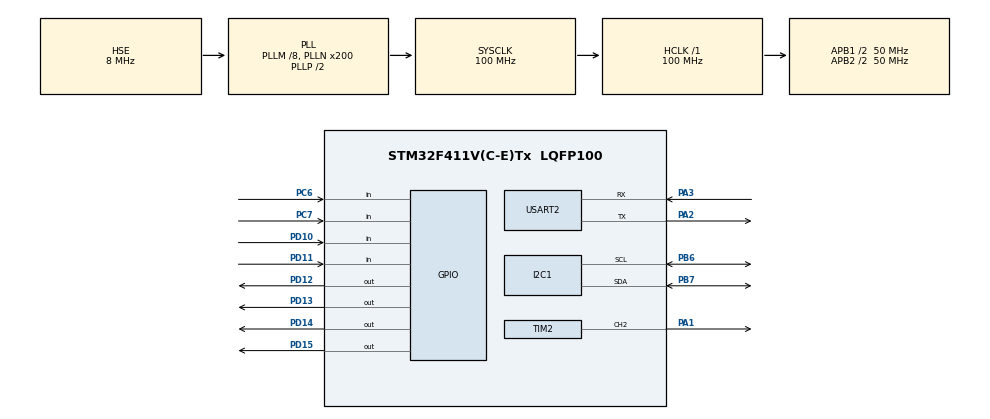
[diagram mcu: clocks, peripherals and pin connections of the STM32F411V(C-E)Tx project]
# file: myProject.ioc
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Dma.I2C1_RX.0.Direction=DMA_PERIPH_TO_MEMORY
Dma.I2C1_RX.0.FIFOMode=DMA_FIFOMODE_DISABLE
Dma.I2C1_RX.0.Instance=DMA1_Stream0
Dma.I2C1_RX.0.MemDataAlignment=DMA_MDATAALIGN_BYTE
Dma.I2C1_RX.0.MemInc=DMA_MINC_ENABLE
Dma.I2C1_RX.0.Mode=DMA_NORMAL
Dma.I2C1_RX.0.PeriphDataAlignment=DMA_PDATAALIGN_BYTE
Dma.I2C1_RX.0.PeriphInc=DMA_PINC_DISABLE
Dma.I2C1_RX.0.Priority=DMA_PRIORITY_LOW
Dma.Request0=I2C1_RX
Dma.Request1=USART2_RX
Dma.USART2_RX.1.Direction=DMA_PERIPH_TO_MEMORY
Dma.USART2_RX.1.FIFOMode=DMA_FIFOMODE_DISABLE
Dma.USART2_RX.1.Instance=DMA1_Stream5
Dma.USART2_RX.1.MemDataAlignment=DMA_MDATAALIGN_BYTE
Dma.USART2_RX.1.MemInc=DMA_MINC_ENABLE
Dma.USART2_RX.1.Mode=DMA_CIRCULAR
Dma.USART2_RX.1.PeriphDataAlignment=DMA_PDATAALIGN_BYTE
Dma.USART2_RX.1.PeriphInc=DMA_PINC_DISABLE
Dma.USART2_RX.1.Priority=DMA_PRIORITY_LOW
Mcu.Family=STM32F4
Mcu.Name=STM32F411V(C-E)Tx
Mcu.Package=LQFP100
NVIC.DMA1_Stream0_IRQn=true\:0\:0\:false\:false\:true\:false\:true
NVIC.DMA1_Stream5_IRQn=true\:0\:0\:false\:false\:true\:false\:true
NVIC.I2C1_EV_IRQn=true\:0\:0\:false\:false\:true\:true\:true
NVIC.PriorityGroup=NVIC_PRIORITYGROUP_4
NVIC.USART2_IRQn=true\:0\:0\:false\:false\:true\:true\:true
PA1.Signal=S_TIM2_CH2
PA13.Mode=Serial_Wire
PA13.Signal=SYS_JTMS-SWDIO
PA14.Mode=Serial_Wire
PA14.Signal=SYS_JTCK-SWCLK
PA2.Mode=Asynchronous
PA2.Signal=USART2_TX
PA3.Mode=Asynchronous
PA3.Signal=USART2_RX
PB6.Mode=I2C
PB6.Signal=I2C1_SCL
PB7.Mode=I2C
PB7.Signal=I2C1_SDA
PC6.Signal=GPIO_Input
PC7.Signal=GPIO_Input
PD10.Signal=GPIO_Input
PD11.Signal=GPIO_Input
PD12.Signal=GPIO_Output
PD13.Signal=GPIO_Output
PD14.Signal=GPIO_Output
PD15.Signal=GPIO_Output
PH0\ -\ OSC_IN.Mode=HSE-External-Oscillator
PH0\ -\ OSC_IN.Signal=RCC_OSC_IN
PH1\ -\ OSC_OUT.Mode=HSE-External-Oscillator
PH1\ -\ OSC_OUT.Signal=RCC_OSC_OUT
ProjectManager.HeapSize=0x200
ProjectManager.StackSize=0x400
ProjectManager.TargetToolchain=MDK-ARM V5.27
RCC.48MHZClocksFreq_Value=50000000
RCC.AHBFreq_Value=100000000
RCC.APB1CLKDivider=RCC_HCLK_DIV2
RCC.APB1Freq_Value=50000000
RCC.APB1TimFreq_Value=100000000
RCC.APB2CLKDivider=RCC_HCLK_DIV2
RCC.APB2Freq_Value=50000000
RCC.APB2TimFreq_Value=100000000
RCC.CortexFreq_Value=100000000
RCC.HCLKFreq_Value=100000000
RCC.HSE_VALUE=8000000
RCC.HSI_VALUE=16000000
RCC.LSE_VALUE=32768
RCC.PLLM=8
RCC.PLLN=200
RCC.PLLSourceVirtual=RCC_PLLSOURCE_HSE
RCC.SYSCLKFreq_VALUE=100000000
RCC.SYSCLKSource=RCC_SYSCLKSOURCE_PLLCLK
RCC.VCOOutputFreq_Value=200000000
SH.S_TIM2_CH2.0=TIM2_CH2,PWM Generation2 CH2
TIM2.Channel-PWM\ Generation2\ CH2=TIM_CHANNEL_2
TIM2.Period=100
TIM2.Prescaler=100
USART2.VirtualMode=VM_ASYNC
VP_TIM2_VS_ClockSourceINT.Mode=Internal
board=custom

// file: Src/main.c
/* USER CODE BEGIN Header */
/**
  ******************************************************************************
  * @file           : main.c
  * @brief          : Main program body
  ******************************************************************************
  * @attention
  *
  * <h2><center>&copy; Copyright (c) 2020 STMicroelectronics.
  * All rights reserved.</center></h2>
  *
  * This software component is licensed by ST under BSD 3-Clause license,
  * the "License"; You may not use this file except in compliance with the
  * License. You may obtain a copy of the License at:
  *                        opensource.org/licenses/BSD-3-Clause
  *
  ******************************************************************************
  */
/* USER CODE END Header */
#include "main.h"

I2C_HandleTypeDef hi2c1;
DMA_HandleTypeDef hdma_i2c1_rx;

TIM_HandleTypeDef htim2;

UART_HandleTypeDef huart2;
DMA_HandleTypeDef hdma_usart2_rx;

void SystemClock_Config(void);
static void MX_GPIO_Init(void);
static void MX_DMA_Init(void);
static void MX_USART2_UART_Init(void);
static void MX_I2C1_Init(void);
static void MX_TIM2_Init(void);

/* USER CODE BEGIN 0 */
#define address 0xB8
//#define EVENT 1;

uint8_t dhtData[4];
uint8_t receive_data[4];
uint8_t send_data[30];
GPIO_PinState D1, D2, D3= GPIO_PIN_RESET;
uint8_t Fan = 0, Ready= 1;
uint32_t cntTO = 0, M = 0;
uint8_t mod = 1, intFlag = 0;
GPIO_PinState Motion, Gas;
/* USER CODE END 0 */

int main(void)
{

  /* MCU Configuration--------------------------------------------------------*/

  /* Reset of all peripherals, Initializes the Flash interface and the Systick. */
  HAL_Init();

  /* Configure the system clock */
  SystemClock_Config();

  /* Initialize all configured peripherals */
  MX_GPIO_Init();
  MX_DMA_Init();
  MX_USART2_UART_Init();
  MX_I2C1_Init();
  MX_TIM2_Init();
  /* USER CODE BEGIN 2 */
	HAL_UART_Receive_DMA(&huart2, &receive_data[0], 4);
  /* USER CODE END 2 */

  /* Infinite loop */
  /* USER CODE BEGIN WHILE */
  HAL_TIM_PWM_Start(&htim2, TIM_CHANNEL_2);
  __HAL_TIM_SET_COMPARE(&htim2, TIM_CHANNEL_2, Fan);
  while (1)
  {
    /* USER CODE END WHILE */

    /* USER CODE BEGIN 3 */
	  __HAL_TIM_SET_COMPARE(&htim2, TIM_CHANNEL_2, Fan);

		//if(huart2.hdmarx->Instance->NDTR != 0x00000003){
		if	(receive_data[0] != 'C' && receive_data[3] != 'E')
		{
			__HAL_DMA_DISABLE(huart2.hdmarx);
			while((huart2.hdmarx->Instance->CR & 0x00000001) != 0);
			huart2.hdmarx->Instance->NDTR = 0x00000004;
			__HAL_DMA_ENABLE(huart2.hdmarx);
		}
		Gas = HAL_GPIO_ReadPin(GPIOC, GPIO_PIN_7);
		Motion = HAL_GPIO_ReadPin(GPIOC, GPIO_PIN_6);
		if(mod == 1) HAL_GPIO_WritePin(GPIOD, GPIO_PIN_14, D3);
		else HAL_GPIO_WritePin(GPIOD, GPIO_PIN_14, Motion);
		HAL_GPIO_WritePin(GPIOD, GPIO_PIN_12, D1);
		HAL_GPIO_WritePin(GPIOD, GPIO_PIN_13, D2);

		if (1)
		{
			dhtData[0] = 0x00;
			HAL_I2C_Master_Transmit(&hi2c1, address, dhtData,1,10);
			dhtData[0] = 0x00;
			HAL_I2C_Master_Receive( &hi2c1,address,&dhtData[0], 4, 10);

			send_data[0] = 's';
			send_data[1] = dhtData[0];
			send_data[2] = ',';
			send_data[3] = dhtData[1];
			send_data[4] = ',';
			send_data[5] = dhtData[2];
			send_data[6] = ',';
			send_data[7] = dhtData[3];
			send_data[8] = 0;
			if(HAL_GPIO_ReadPin(GPIOC, GPIO_PIN_7)) send_data[8] = send_data[8] | 0x01;
			if(HAL_GPIO_ReadPin(GPIOC, GPIO_PIN_6)) send_data[8] = send_data[8] | 0x02;
			if(HAL_GPIO_ReadPin(GPIOD, GPIO_PIN_12)) send_data[8] = send_data[8] | 0x04;
			if(HAL_GPIO_ReadPin(GPIOD, GPIO_PIN_13)) send_data[8] = send_data[8] | 0x08;
			if(HAL_GPIO_ReadPin(GPIOD, GPIO_PIN_14)) send_data[8] = send_data[8] | 0x10;
			send_data[9] = Fan;
			send_data[10] = (uint8_t)(dhtData[0]) + (uint8_t)(dhtData[2]);
			HAL_UART_Transmit(&huart2,send_data,11,10);
			intFlag = 0;
			HAL_Delay(100);
		}
  }
  /* USER CODE END 3 */
}

void SystemClock_Config(void)
{
  RCC_OscInitTypeDef RCC_OscInitStruct = {0};
  RCC_ClkInitTypeDef RCC_ClkInitStruct = {0};

  /** Configure the main internal regulator output voltage
  */
  __HAL_RCC_PWR_CLK_ENABLE();
  __HAL_PWR_VOLTAGESCALING_CONFIG(PWR_REGULATOR_VOLTAGE_SCALE1);
  /** Initializes the RCC Oscillators according to the specified parameters
  * in the RCC_OscInitTypeDef structure.
  */
  RCC_OscInitStruct.OscillatorType = RCC_OSCILLATORTYPE_HSE;
  RCC_OscInitStruct.HSEState = RCC_HSE_ON;
  RCC_OscInitStruct.PLL.PLLState = RCC_PLL_ON;
  RCC_OscInitStruct.PLL.PLLSource = RCC_PLLSOURCE_HSE;
  RCC_OscInitStruct.PLL.PLLM = 8;
  RCC_OscInitStruct.PLL.PLLN = 200;
  RCC_OscInitStruct.PLL.PLLP = RCC_PLLP_DIV2;
  RCC_OscInitStruct.PLL.PLLQ = 4;
  if (HAL_RCC_OscConfig(&RCC_OscInitStruct) != HAL_OK)
  {
    Error_Handler();
  }
  /** Initializes the CPU, AHB and APB buses clocks
  */
  RCC_ClkInitStruct.ClockType = RCC_CLOCKTYPE_HCLK|RCC_CLOCKTYPE_SYSCLK
                              |RCC_CLOCKTYPE_PCLK1|RCC_CLOCKTYPE_PCLK2;
  RCC_ClkInitStruct.SYSCLKSource = RCC_SYSCLKSOURCE_PLLCLK;
  RCC_ClkInitStruct.AHBCLKDivider = RCC_SYSCLK_DIV1;
  RCC_ClkInitStruct.APB1CLKDivider = RCC_HCLK_DIV2;
  RCC_ClkInitStruct.APB2CLKDivider = RCC_HCLK_DIV2;

  if (HAL_RCC_ClockConfig(&RCC_ClkInitStruct, FLASH_LATENCY_3) != HAL_OK)
  {
    Error_Handler();
  }
}

static void MX_I2C1_Init(void)
{

  hi2c1.Instance = I2C1;
  hi2c1.Init.ClockSpeed = 100000;
  hi2c1.Init.DutyCycle = I2C_DUTYCYCLE_2;
  hi2c1.Init.OwnAddress1 = 0;
  hi2c1.Init.AddressingMode = I2C_ADDRESSINGMODE_7BIT;
  hi2c1.Init.DualAddressMode = I2C_DUALADDRESS_DISABLE;
  hi2c1.Init.OwnAddress2 = 0;
  hi2c1.Init.GeneralCallMode = I2C_GENERALCALL_DISABLE;
  hi2c1.Init.NoStretchMode = I2C_NOSTRETCH_DISABLE;
  if (HAL_I2C_Init(&hi2c1) != HAL_OK)
  {
    Error_Handler();
  }

}

static void MX_TIM2_Init(void)
{

  TIM_ClockConfigTypeDef sClockSourceConfig = {0};
  TIM_MasterConfigTypeDef sMasterConfig = {0};
  TIM_OC_InitTypeDef sConfigOC = {0};

  htim2.Instance = TIM2;
  htim2.Init.Prescaler = 100;
  htim2.Init.CounterMode = TIM_COUNTERMODE_UP;
  htim2.Init.Period = 100;
  htim2.Init.ClockDivision = TIM_CLOCKDIVISION_DIV1;
  htim2.Init.AutoReloadPreload = TIM_AUTORELOAD_PRELOAD_DISABLE;
  if (HAL_TIM_Base_Init(&htim2) != HAL_OK)
  {
    Error_Handler();
  }
  sClockSourceConfig.ClockSource = TIM_CLOCKSOURCE_INTERNAL;
  if (HAL_TIM_ConfigClockSource(&htim2, &sClockSourceConfig) != HAL_OK)
  {
    Error_Handler();
  }
  if (HAL_TIM_PWM_Init(&htim2) != HAL_OK)
  {
    Error_Handler();
  }
  sMasterConfig.MasterOutputTrigger = TIM_TRGO_RESET;
  sMasterConfig.MasterSlaveMode = TIM_MASTERSLAVEMODE_DISABLE;
  if (HAL_TIMEx_MasterConfigSynchronization(&htim2, &sMasterConfig) != HAL_OK)
  {
    Error_Handler();
  }
  sConfigOC.OCMode = TIM_OCMODE_PWM1;
  sConfigOC.Pulse = 0;
  sConfigOC.OCPolarity = TIM_OCPOLARITY_HIGH;
  sConfigOC.OCFastMode = TIM_OCFAST_DISABLE;
  if (HAL_TIM_PWM_ConfigChannel(&htim2, &sConfigOC, TIM_CHANNEL_2) != HAL_OK)
  {
    Error_Handler();
  }
  HAL_TIM_MspPostInit(&htim2);

}

static void MX_USART2_UART_Init(void)
{

  huart2.Instance = USART2;
  huart2.Init.BaudRate = 115200;
  huart2.Init.WordLength = UART_WORDLENGTH_8B;
  huart2.Init.StopBits = UART_STOPBITS_1;
  huart2.Init.Parity = UART_PARITY_NONE;
  huart2.Init.Mode = UART_MODE_TX_RX;
  huart2.Init.HwFlowCtl = UART_HWCONTROL_NONE;
  huart2.Init.OverSampling = UART_OVERSAMPLING_16;
  if (HAL_UART_Init(&huart2) != HAL_OK)
  {
    Error_Handler();
  }

}

static void MX_DMA_Init(void)
{

  /* DMA controller clock enable */
  __HAL_RCC_DMA1_CLK_ENABLE();

  /* DMA interrupt init */
  /* DMA1_Stream0_IRQn interrupt configuration */
  HAL_NVIC_SetPriority(DMA1_Stream0_IRQn, 0, 0);
  HAL_NVIC_EnableIRQ(DMA1_Stream0_IRQn);
  /* DMA1_Stream5_IRQn interrupt configuration */
  HAL_NVIC_SetPriority(DMA1_Stream5_IRQn, 0, 0);
  HAL_NVIC_EnableIRQ(DMA1_Stream5_IRQn);

}

static void MX_GPIO_Init(void)
{
  GPIO_InitTypeDef GPIO_InitStruct = {0};

  /* GPIO Ports Clock Enable */
  __HAL_RCC_GPIOH_CLK_ENABLE();
  __HAL_RCC_GPIOA_CLK_ENABLE();
  __HAL_RCC_GPIOD_CLK_ENABLE();
  __HAL_RCC_GPIOC_CLK_ENABLE();
  __HAL_RCC_GPIOB_CLK_ENABLE();

  /*Configure GPIO pin Output Level */
  HAL_GPIO_WritePin(GPIOD, GPIO_PIN_12|GPIO_PIN_13|GPIO_PIN_14|GPIO_PIN_15, GPIO_PIN_RESET);

  /*Configure GPIO pins : PD10 PD11 */
  GPIO_InitStruct.Pin = GPIO_PIN_10|GPIO_PIN_11;
  GPIO_InitStruct.Mode = GPIO_MODE_INPUT;
  GPIO_InitStruct.Pull = GPIO_NOPULL;
  HAL_GPIO_Init(GPIOD, &GPIO_InitStruct);

  /*Configure GPIO pins : PD12 PD13 PD14 PD15 */
  GPIO_InitStruct.Pin = GPIO_PIN_12|GPIO_PIN_13|GPIO_PIN_14|GPIO_PIN_15;
  GPIO_InitStruct.Mode = GPIO_MODE_OUTPUT_PP;
  GPIO_InitStruct.Pull = GPIO_NOPULL;
  GPIO_InitStruct.Speed = GPIO_SPEED_FREQ_LOW;
  HAL_GPIO_Init(GPIOD, &GPIO_InitStruct);

  /*Configure GPIO pins : PC6 PC7 */
  GPIO_InitStruct.Pin = GPIO_PIN_6|GPIO_PIN_7;
  GPIO_InitStruct.Mode = GPIO_MODE_INPUT;
  GPIO_InitStruct.Pull = GPIO_NOPULL;
  HAL_GPIO_Init(GPIOC, &GPIO_InitStruct);

}

/* USER CODE BEGIN 4 */
void HAL_UART_RxCpltCallback(UART_HandleTypeDef *huart)
{
	if(huart -> Instance == huart2.Instance)
	{
		intFlag = 1;
		if (receive_data[0] == 'C' && receive_data[3] == 'E')
		{
			mod = ((receive_data[1]&0x01) != 0)?1:0;
			D1 = ((receive_data[1]&0x04) != 0)?GPIO_PIN_SET:GPIO_PIN_RESET;
			HAL_GPIO_WritePin(GPIOD, GPIO_PIN_12, D1);
			D2 = ((receive_data[1]&0x08) != 0)?GPIO_PIN_SET:GPIO_PIN_RESET;
			HAL_GPIO_WritePin(GPIOD, GPIO_PIN_13, D2);
			D3 = ((receive_data[1]&0x02) != 0)?GPIO_PIN_SET:GPIO_PIN_RESET;
			if(mod == 1) HAL_GPIO_WritePin(GPIOD, GPIO_PIN_14, D3);
			else HAL_GPIO_WritePin(GPIOD, GPIO_PIN_14, Motion);
			Fan = (uint8_t)receive_data[2];
		}
	}
}

/* USER CODE END 4 */

void Error_Handler(void)
{
}

/************************ (C) COPYRIGHT STMicroelectronics *****END OF FILE****/
